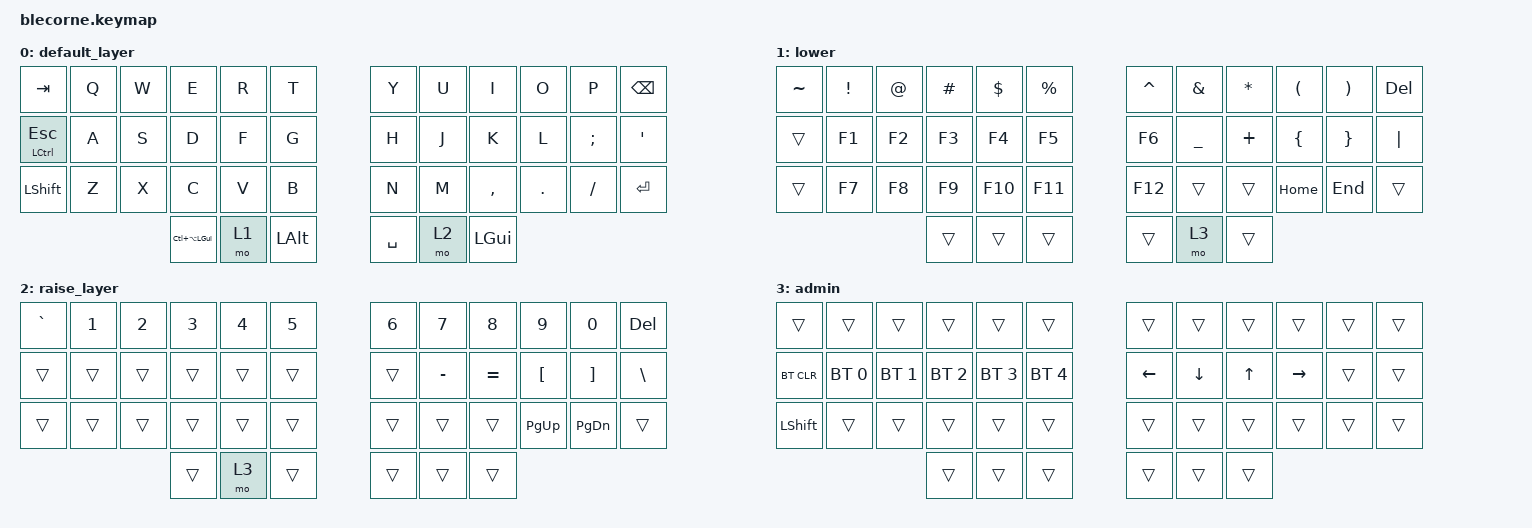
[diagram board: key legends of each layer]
/*
 * Copyright (c) 2020 The ZMK Contributors
 * SPDX-License-Identifier: MIT
 */

#include <behaviors.dtsi>
#include <dt-bindings/zmk/keys.h>
#include <dt-bindings/zmk/bt.h>

/ {
    chosen {
        zmk,physical-layout = &foostan_corne_6col_layout;
        // zmk,physical-layout = &foostan_corne_5col_layout;
    };
};

/ {
    keymap {
        compatible = "zmk,keymap";

        default_layer {
            bindings = <
                &kp TAB   &kp Q &kp W &kp E &kp R &kp T   &kp Y &kp U  &kp I     &kp O   &kp P    &kp BSPC
            &mt LCTRL ESC &kp A &kp S &kp D &kp F &kp G   &kp H &kp J  &kp K     &kp L   &kp SEMI &kp SQT
                &kp LSHFT &kp Z &kp X &kp C &kp V &kp B   &kp N &kp M  &kp COMMA &kp DOT &kp FSLH &kp RET
                        &kp LC(LA(LGUI)) &mo 1 &kp LALT   &kp SPACE &mo 2 &kp LGUI
            >;
        };
        lower {
            bindings = <
                &kp TILDE  &kp EXCL &kp AT &kp HASH &kp DLLR &kp PRCNT   &kp CARET &kp AMPS  &kp ASTRK &kp LPAR &kp RPAR &kp DEL
                &trans     &kp F1   &kp F2 &kp F3   &kp F4   &kp F5      &kp F6    &kp UNDER &kp PLUS  &kp LBRC &kp RBRC &kp PIPE
                &trans     &kp F7   &kp F8 &kp F9   &kp F10  &kp F11     &kp F12   &trans    &trans    &kp HOME &kp END  &trans
                                                  &trans &trans &trans   &trans   &mo 3 &trans
            >;
        };

        raise_layer {
            bindings = <
                &kp  GRAVE &kp N1   &kp N2 &kp N3   &kp N4   &kp N5      &kp N6 &kp N7    &kp N8    &kp N9   &kp N0    &kp DEL
                &trans     &trans   &trans &trans   &trans   &trans      &trans &kp MINUS &kp EQUAL &kp LBKT &kp RBKT  &kp BSLH
                &trans     &trans   &trans &trans   &trans   &trans      &trans &trans    &trans    &kp PG_UP &kp PG_DN &trans
                                                  &trans &mo 3 &trans   &trans   &trans &trans
            >;
        };
        admin {
            bindings = <
                &trans     &trans       &trans       &trans       &trans       &trans         &trans   &trans   &trans &trans    &trans &trans
                &bt BT_CLR &bt BT_SEL 0 &bt BT_SEL 1 &bt BT_SEL 2 &bt BT_SEL 3 &bt BT_SEL 4   &kp LEFT &kp DOWN &kp UP &kp RIGHT &trans &trans
                &kp LSHFT  &trans       &trans       &trans       &trans       &trans         &trans   &trans   &trans &trans    &trans &trans
                                                                     &trans &trans &trans     &trans &trans &trans
            >;
        };

    };
};

